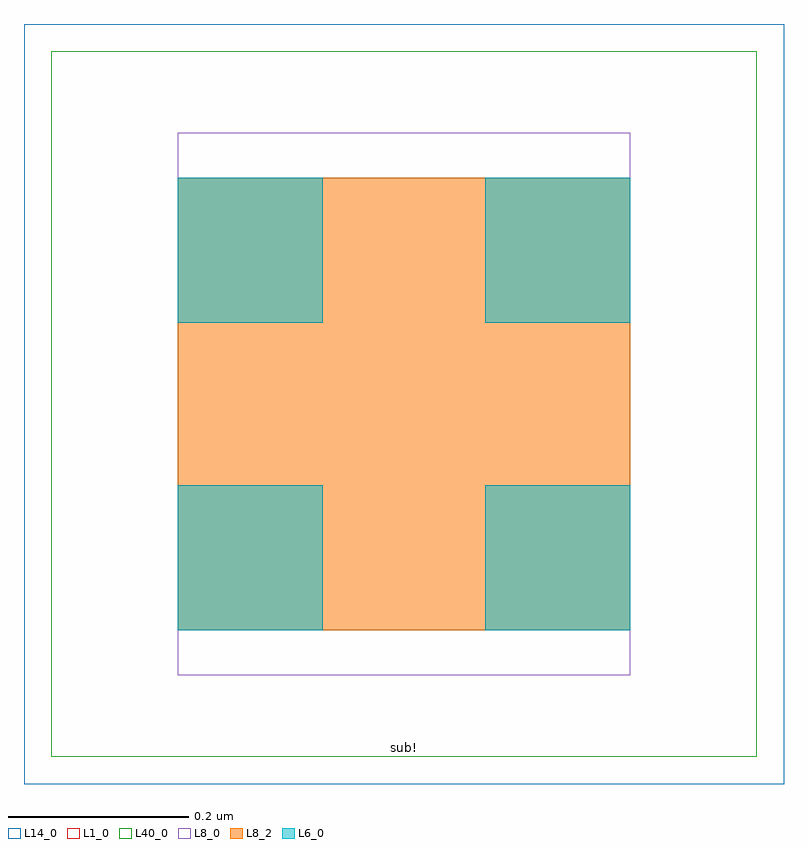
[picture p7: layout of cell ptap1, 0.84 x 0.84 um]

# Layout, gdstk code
import gdstk
lib = gdstk.Library(unit=1e-6, precision=1e-09)
def R(c, l, rs):  # rectangles x0, y0, x1, y1
    for r in rs: c.add(gdstk.rectangle(r[:2], r[2:], *l))
L1_0 = (1, 0)
L6_0 = (6, 0)
L8_0 = (8, 0)
L8_2 = (8, 2)
L14_0 = (14, 0)
L40_0 = (40, 0)

ptap1 = lib.new_cell('ptap1')
R(ptap1, L1_0, [(0,0,0.78,0.78), (0,0,0.78,0.78)])
R(ptap1, L6_0, [(0.14,0.14,0.3,0.3), (0.14,0.14,0.3,0.3), (0.48,0.14,0.64,0.3), (0.48,0.14,0.64,0.3), (0.14,0.48,0.3,0.64), (0.14,0.48,0.3,0.64), (0.48,0.48,0.64,0.64), (0.48,0.48,0.64,0.64)])
R(ptap1, L8_0, [(0.14,0.09,0.64,0.69), (0.14,0.09,0.64,0.69)])
R(ptap1, L8_2, [(0.14,0.14,0.64,0.64), (0.14,0.14,0.64,0.64)])
R(ptap1, L14_0, [(-0.03,-0.03,0.81,0.81), (-0.03,-0.03,0.81,0.81)])
R(ptap1, L40_0, [(0,0,0.78,0.78), (0,0,0.78,0.78)])
ptap1.add(gdstk.Label('sub!', (0.39,0.01), layer=63, texttype=0))
ptap1.add(gdstk.Label('sub!', (0.39,0.01), layer=63, texttype=0))

lib.write_gds('ptap1.gds')
